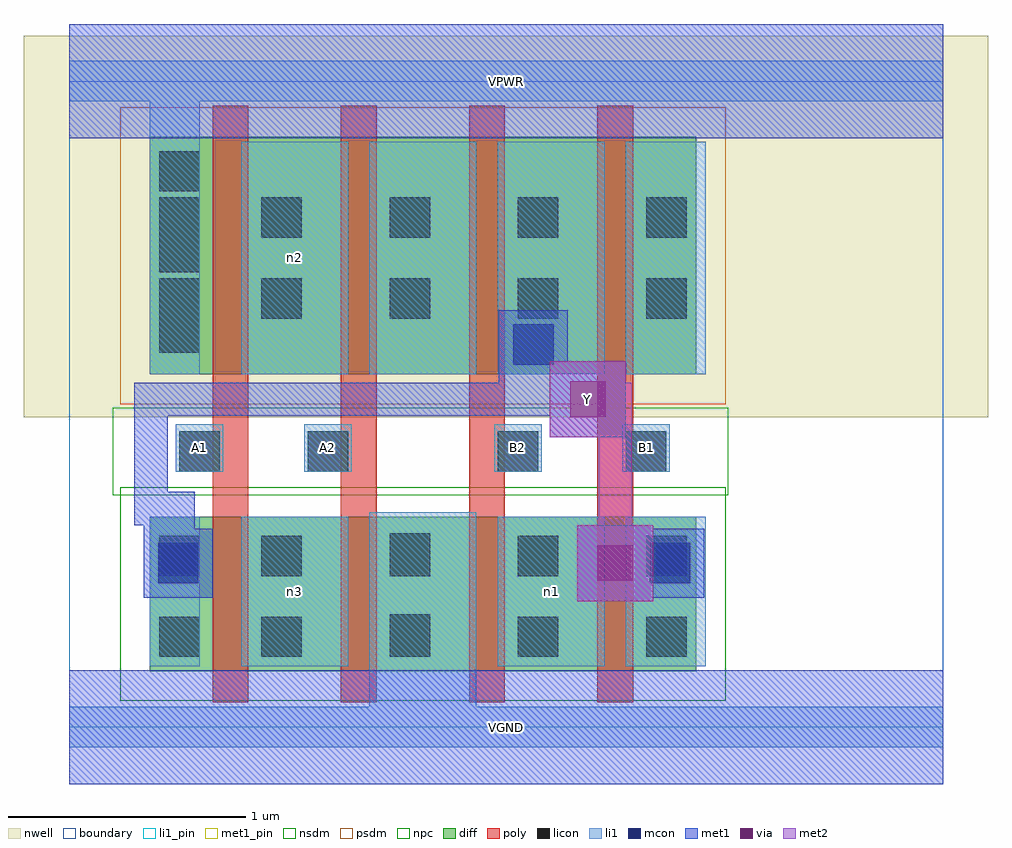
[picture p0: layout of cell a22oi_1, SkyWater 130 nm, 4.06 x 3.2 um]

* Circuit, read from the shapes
.subckt a22oi_1 A1 A2 B1 B2 VGND VPWR Y n1 n2 n3
XM1 n3 A1 Y VSUBS sky130_fd_pr__nfet_01v8 w=0.65 l=0.15
XM2 n4 A2 n3 VSUBS sky130_fd_pr__nfet_01v8 w=0.65 l=0.15
XM3 n1 B2 n4 VSUBS sky130_fd_pr__nfet_01v8 w=0.65 l=0.15
XM4 Y B1 n1 VSUBS sky130_fd_pr__nfet_01v8 w=0.65 l=0.15
XM5 n2 A1 n5 n6 sky130_fd_pr__pfet_01v8 w=1 l=0.15
XM6 n7 A2 n2 n6 sky130_fd_pr__pfet_01v8 w=1 l=0.15
XM7 Y B2 n7 n6 sky130_fd_pr__pfet_01v8 w=1 l=0.15
XM8 n8 B1 Y n6 sky130_fd_pr__pfet_01v8 w=1 l=0.15
.ends

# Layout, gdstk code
import gdstk
lib = gdstk.Library(unit=1e-6, precision=1e-09)
def R(c, l, rs):  # rectangles x0, y0, x1, y1
    for r in rs: c.add(gdstk.rectangle(r[:2], r[2:], *l))
def A(c, l, x, y, w, h, nx, ny, dx, dy):  # array of equal rectangles
    R(c, l, [(x+i*dx, y+j*dy, x+i*dx+w, y+j*dy+h) for i in range(nx) for j in range(ny)])
nwell = (64, 20)
diff = (65, 20)
poly = (66, 20)
licon = (66, 44)
li1_pin = (67, 16)
li1 = (67, 20)
mcon = (67, 44)
met1_pin = (68, 16)
met1 = (68, 20)
via = (68, 44)
met2 = (69, 20)
nsdm = (93, 44)
psdm = (94, 20)
npc = (95, 20)
boundary = (235, 4)

a22oi_1 = lib.new_cell('a22oi_1')
R(a22oi_1, nwell, [(-0.19,1.305,3.87,2.91), (0,1.305,3.68,2.91)])
R(a22oi_1, diff, [(0.34,0.235,2.64,0.885), (0.34,1.485,2.64,2.485)])
A(a22oi_1, poly, 0.605, 0.105, 0.15, 2.51, 4, 1, 0.54, 0)
A(a22oi_1, licon, 0.81, 0.295, 0.17, 0.17, 4, 2, 0.54, 0.34)
A(a22oi_1, licon, 0.81, 1.72, 0.17, 0.17, 4, 2, 0.54, 0.34)
R(a22oi_1, licon, [(0.38,0.295,0.55,0.465), (1.35,0.305,1.52,0.475), (0.38,0.635,0.55,0.805), (1.35,0.645,1.52,0.815), (0.465,1.075,0.635,1.245), (1.005,1.075,1.175,1.245), (1.805,1.075,1.975,1.245), (2.345,1.075,2.515,1.245), (0.38,1.575,0.55,1.745), (0.38,1.72,0.55,1.89), (0.38,1.915,0.55,2.085), (0.38,2.06,0.55,2.23), (0.38,2.255,0.55,2.425)])
R(a22oi_1, li1_pin, [(0.45,1.075,0.65,1.275), (0.99,1.075,1.19,1.275), (1.79,1.075,1.99,1.275), (2.33,1.075,2.53,1.275)])
A(a22oi_1, li1, 0.725, 0.255, 0.45, 0.63, 3, 1, 0.54, 0)
A(a22oi_1, li1, 0.725, 1.485, 0.45, 0.98, 3, 1, 0.54, 0)
R(a22oi_1, li1, [(0,-0.085,3.68,0.085), (1.265,-0.085,1.715,0.905), (1.35,-0.085,1.52,0.815), (0.34,0.255,0.55,0.885), (2.345,0.255,2.68,0.885), (0.45,1.075,0.65,1.275), (0.99,1.075,1.19,1.275), (1.79,1.075,1.99,1.275), (2.33,1.075,2.53,1.275), (0.34,1.485,0.55,2.465), (2.345,1.485,2.68,2.465), (0.34,1.495,0.55,2.805), (0.38,1.575,0.55,2.805), (0,2.635,3.68,2.805)])
R(a22oi_1, mcon, [(0.375,0.605,0.545,0.775), (2.445,0.605,2.615,0.775), (1.87,1.525,2.04,1.695)])
R(a22oi_1, met1_pin, [(0,-0.24,3.68,0.24), (2.025,1.22,2.345,1.54), (0,2.48,3.68,2.96)])
R(a22oi_1, met1, [(0,-0.24,3.68,0.24), (2.14,0.53,2.46,0.85), (0.315,0.545,0.605,0.835), (2.385,0.545,2.675,0.835), (0.39,0.62,0.53,0.99), (2.23,0.62,2.6,0.76), (0.315,0.835,0.53,0.85), (0.315,0.835,0.415,0.85), (0.275,0.85,0.53,0.99), (0.275,0.85,0.415,1.45), (2.025,1.22,2.345,1.54), (0.275,1.31,2.025,1.45), (1.885,1.31,2.025,1.68), (1.885,1.31,2.255,1.45), (1.81,1.45,2.025,1.465), (1.885,1.45,2.1,1.465), (1.81,1.465,2.1,1.755), (0,2.48,3.68,2.96)])
R(a22oi_1, via, [(2.225,0.615,2.375,0.765), (2.11,1.305,2.26,1.455)])
R(a22oi_1, met2, [(2.14,0.53,2.46,0.85), (2.23,0.62,2.37,1.45), (2.025,1.22,2.345,1.54), (2.115,1.31,2.37,1.45)])
R(a22oi_1, nsdm, [(0.215,0.11,2.765,1.01)])
R(a22oi_1, psdm, [(0.215,1.36,2.765,2.61)])
R(a22oi_1, npc, [(0.185,0.975,2.775,1.345)])
R(a22oi_1, boundary, [(0,0,3.68,2.72)])
a22oi_1.add(gdstk.Label('A1', (0.55,1.175), layer=67, texttype=5))
a22oi_1.add(gdstk.Label('A2', (1.09,1.175), layer=67, texttype=5))
a22oi_1.add(gdstk.Label('B1', (2.43,1.175), layer=67, texttype=5))
a22oi_1.add(gdstk.Label('B2', (1.89,1.175), layer=67, texttype=5))
a22oi_1.add(gdstk.Label('n3', (0.95,0.57), layer=67, texttype=5))
a22oi_1.add(gdstk.Label('n1', (2.03,0.57), layer=67, texttype=5))
a22oi_1.add(gdstk.Label('n2', (0.95,1.975), layer=67, texttype=5))
a22oi_1.add(gdstk.Label('Y', (2.185,1.38), layer=68, texttype=5))
a22oi_1.add(gdstk.Label('VPWR', (1.84,2.72), layer=68, texttype=5))
a22oi_1.add(gdstk.Label('VGND', (1.84,0), layer=68, texttype=5))
a22oi_1.add(gdstk.Label('A1', (0.55,1.175), layer=67, texttype=16))
a22oi_1.add(gdstk.Label('A2', (1.09,1.175), layer=67, texttype=16))
a22oi_1.add(gdstk.Label('B1', (2.43,1.175), layer=67, texttype=16))
a22oi_1.add(gdstk.Label('B2', (1.89,1.175), layer=67, texttype=16))
a22oi_1.add(gdstk.Label('Y', (2.185,1.38), layer=68, texttype=16))
a22oi_1.add(gdstk.Label('VPWR', (1.84,2.72), layer=68, texttype=16))
a22oi_1.add(gdstk.Label('VGND', (1.84,0), layer=68, texttype=16))

lib.write_gds('a22oi_1.gds')
